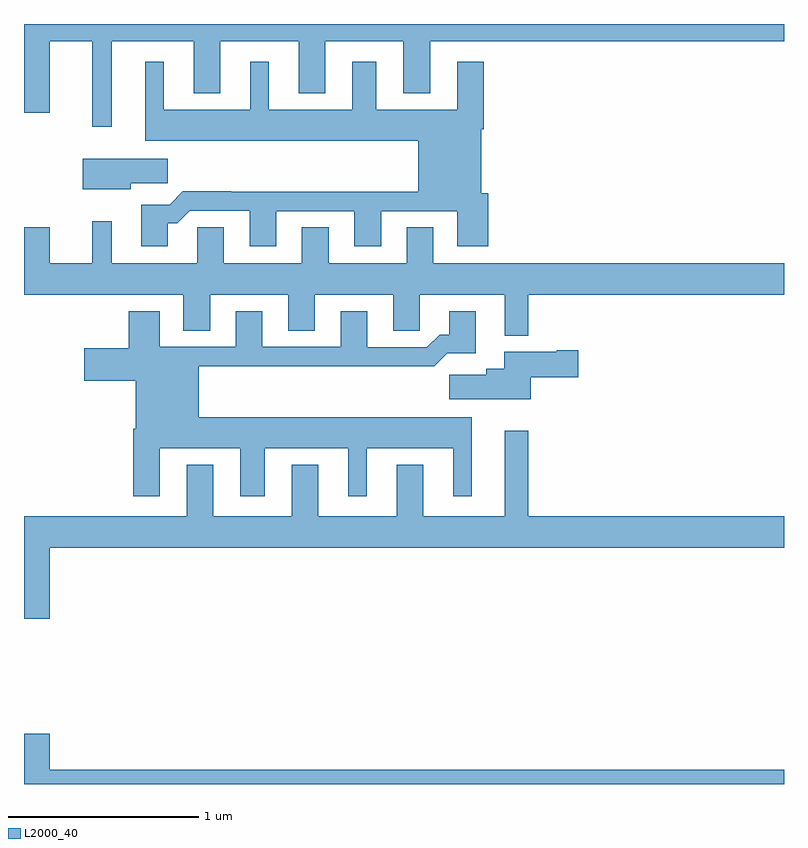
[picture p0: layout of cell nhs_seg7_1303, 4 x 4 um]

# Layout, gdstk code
import gdstk
lib = gdstk.Library(unit=1e-6, precision=1e-09)
def P(c, l, *ps):  # polygons
    for p in ps: c.add(gdstk.Polygon(p, *l))
L2000_40 = (2000, 40)

nhs_seg7_1303 = lib.new_cell('nhs_seg7_1303')
P(nhs_seg7_1303, L2000_40, [(205,1042),(201,1042),(201,1041.534),(201.136,1041.534),(201.136,1041.908),(201.359,1041.908),(201.359,1041.459),(201.463,1041.459),(201.463,1041.908),(201.893,1041.908),(201.893,1041.635),(202.033,1041.635),(202.033,1041.908),(202.445,1041.908),(202.445,1041.635),(202.585,1041.635),(202.585,1041.908),(202.997,1041.908),(202.997,1041.635),(203.137,1041.635),(203.137,1041.908),(205,1041.908)],
  [(201.757,1040.951),(201.806,1040.951),(201.873,1041.018),(202.187,1041.018),(202.187,1040.829),(202.327,1040.829),(202.327,1041.015),(202.739,1041.015),(202.739,1040.829),(202.879,1040.829),(202.879,1041.015),(203.279,1041.015),(203.279,1040.829),(203.444,1040.829),(203.444,1041.108),(203.407,1041.108),(203.407,1041.446),(203.42,1041.446),(203.42,1041.802),(203.279,1041.802),(203.279,1041.55),(202.855,1041.55),(202.855,1041.802),(202.727,1041.802),(202.727,1041.55),(202.288,1041.55),(202.288,1041.802),(202.19,1041.802),(202.19,1041.55),(201.736,1041.55),(201.736,1041.802),(201.638,1041.802),(201.638,1041.386),(203.075,1041.386),(203.075,1041.116),(202.091,1041.116),(202.091,1041.119),(201.836,1041.119),(201.766,1041.049),(201.617,1041.049),(201.617,1040.829),(201.757,1040.829)],
  [(201.562,1041.163),(201.757,1041.163),(201.757,1041.292),(201.308,1041.292),(201.308,1041.131),(201.562,1041.131)],
  [(203.653,1040.576),(205,1040.576),(205,1040.74),(203.155,1040.74),(203.155,1040.93),(203.015,1040.93),(203.015,1040.74),(202.603,1040.74),(202.603,1040.93),(202.463,1040.93),(202.463,1040.74),(202.051,1040.74),(202.051,1040.93),(201.912,1040.93),(201.912,1040.74),(201.463,1040.74),(201.463,1040.962),(201.359,1040.962),(201.359,1040.74),(201.136,1040.74),(201.136,1040.929),(201,1040.929),(201,1040.576),(201.839,1040.576),(201.839,1040.386),(201.979,1040.386),(201.979,1040.576),(202.391,1040.576),(202.391,1040.386),(202.531,1040.386),(202.531,1040.576),(202.943,1040.576),(202.943,1040.386),(203.082,1040.386),(203.082,1040.576),(203.531,1040.576),(203.531,1040.36),(203.653,1040.36)],
  [(201.715,1039.766),(202.139,1039.766),(202.139,1039.515),(202.267,1039.515),(202.267,1039.766),(202.706,1039.766),(202.706,1039.515),(202.804,1039.515),(202.804,1039.766),(203.258,1039.766),(203.258,1039.515),(203.356,1039.515),(203.356,1039.93),(201.919,1039.93),(201.919,1040.2),(202.903,1040.2),(202.903,1040.198),(203.159,1040.198),(203.228,1040.267),(203.377,1040.267),(203.377,1040.488),(203.237,1040.488),(203.237,1040.365),(203.188,1040.365),(203.121,1040.298),(202.807,1040.298),(202.807,1040.488),(202.667,1040.488),(202.667,1040.301),(202.255,1040.301),(202.255,1040.488),(202.115,1040.488),(202.115,1040.301),(201.715,1040.301),(201.715,1040.488),(201.551,1040.488),(201.551,1040.293),(201.318,1040.293),(201.318,1040.123),(201.587,1040.123),(201.587,1039.87),(201.575,1039.87),(201.575,1039.515),(201.715,1039.515)],
  [(203.668,1040.141),(203.917,1040.141),(203.917,1040.283),(203.804,1040.283),(203.804,1040.275),(203.528,1040.275),(203.528,1040.185),(203.432,1040.185),(203.432,1040.153),(203.238,1040.153),(203.238,1040.024),(203.668,1040.024)],
  [(201.136,1039.244),(205,1039.244),(205,1039.408),(203.653,1039.408),(203.653,1039.858),(203.531,1039.858),(203.531,1039.408),(203.101,1039.408),(203.101,1039.681),(202.961,1039.681),(202.961,1039.408),(202.549,1039.408),(202.549,1039.681),(202.409,1039.681),(202.409,1039.408),(201.997,1039.408),(201.997,1039.681),(201.857,1039.681),(201.857,1039.408),(201,1039.408),(201,1038.87),(201.136,1038.87)],
  [(205,1038.076),(201.136,1038.076),(201.136,1038.265),(201,1038.265),(201,1038),(205,1038)])

lib.write_gds('nhs_seg7_1303.gds')
